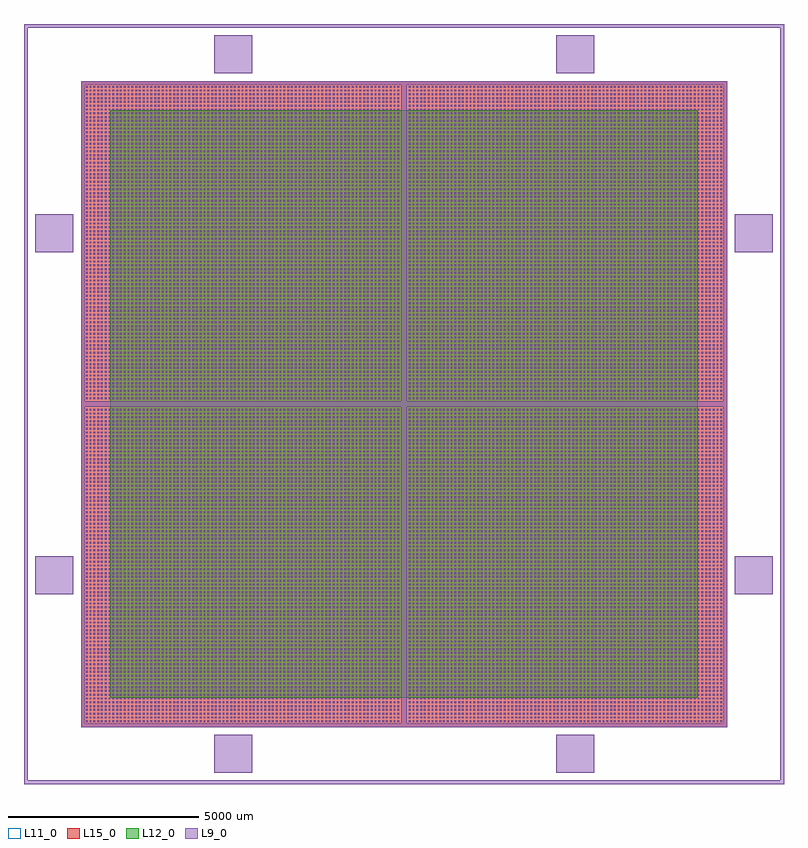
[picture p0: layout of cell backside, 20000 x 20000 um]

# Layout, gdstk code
import gdstk
lib = gdstk.Library(unit=1e-6, precision=1e-09)
def R(c, l, rs):  # rectangles x0, y0, x1, y1
    for r in rs: c.add(gdstk.rectangle(r[:2], r[2:], *l))
def A(c, l, x, y, w, h, nx, ny, dx, dy):  # array of equal rectangles
    R(c, l, [(x+i*dx, y+j*dy, x+i*dx+w, y+j*dy+h) for i in range(nx) for j in range(ny)])
def P(c, l, *ps):  # polygons
    for p in ps: c.add(gdstk.Polygon(p, *l))
L9_0 = (9, 0)
L11_0 = (11, 0)
L12_0 = (12, 0)
L15_0 = (15, 0)

backside = lib.new_cell('backside')
A(backside, L9_0, -8375, -8375, 50, 50, 168, 168, 100, 100)
R(backside, L9_0, [(-5000,-9700,-4000,-8700), (4000,-9700,5000,-8700), (-8500,-8500,-8400,8500), (-8500,-8500,8500,-8400), (8400,-8500,8500,8500), (-75,-8400,75,8400), (-9700,-5000,-8700,-4000), (8700,-5000,9700,-4000), (-8400,-75,8400,75), (-9700,4000,-8700,5000), (8700,4000,9700,5000), (-8500,8400,8500,8500), (-5000,8700,-4000,9700), (4000,8700,5000,9700)])
P(backside, L9_0, [(10000,10000),(9900,10000),(9900,-9900),(-9900,-9900),(-9900,9900),(9900,9900),(9900,10000),(-10000,10000),(-10000,-10000),(10000,-10000)])
R(backside, L11_0, [(-10000,-10000,10000,10000)])
R(backside, L12_0, [(-7730,-7730,7730,7730)])
R(backside, L15_0, [(-8500,-8500,8500,8500)])

lib.write_gds('backside.gds')
